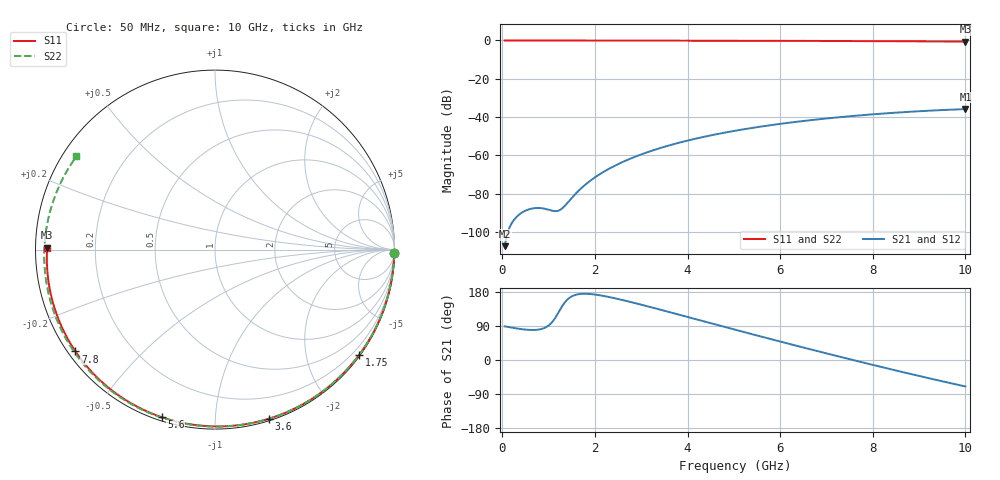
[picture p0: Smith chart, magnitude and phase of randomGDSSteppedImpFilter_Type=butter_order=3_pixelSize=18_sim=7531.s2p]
! freq	dB(S11)	phase(S11)	dB(S12)	phase(S12)
!  dB(S21)	phase(S21)	dB(S22)	phase(S22)
!S-par simulation data
#  GHz  S  DB  R 50
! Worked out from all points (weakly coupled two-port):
!   200 points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, 50 MHz to 10 GHz, reference 50 ohm
!   highest |S21| = -35.82 dB at 10 GHz (marker M1); lowest = -107.4 dB at 50 MHz (marker M2)
!   lowest |S11| = -0.6 dB at 10 GHz (marker M3), VSWR 29.82, Z = 1.68 + j0.269 ohm
!   |S11| at or under -10 dB: nowhere
!   |S22| runs from -0.6 to 0.0 dB; largest |S21 - S12| = 0
!   S11 on the Smith chart (normalised r, x): 50 MHz: open; 1.75 GHz: 0.03, -3.05; 3.6 GHz: 0.02, -1.37; 5.6 GHz: 0.02, -0.73; 7.8 GHz: 0.02, -0.33; 10 GHz: 0.03, +0.01
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0.05  -0.00 -1.0  -107.37 88.9  -107.37 88.9  -0.00 -1.2
0.45  -0.01 -9.5  -89.47 80.9  -89.47 80.9  -0.02 -11.1
0.8  -0.02 -16.8  -87.46 80.6  -87.46 80.6  -0.03 -19.8
1.55  -0.04 -32.3  -80.86 170.6  -80.86 170.6  -0.05 -37.9
1.6  -0.04 -33.3  -79.59 172.5  -79.59 172.5  -0.05 -39.1
1.75  -0.05 -36.3  -76.15 174.8  -76.15 174.8  -0.05 -42.7
2.05  -0.05 -42.4  -70.66 171.9  -70.66 171.9  -0.06 -49.7
2.45  -0.06 -50.3  -65.15 162.4  -65.15 162.4  -0.08 -58.9
2.9  -0.08 -59.0  -60.39 149.1  -60.39 149.1  -0.09 -69.1
3.4  -0.09 -68.5  -56.23 133.2  -56.23 133.2  -0.10 -80.1
3.6  -0.10 -72.3  -54.81 126.7  -54.81 126.7  -0.11 -84.4
4.3  -0.12 -85.1  -50.58 103.8  -50.58 103.8  -0.14 -99.0
5.05  -0.15 -98.3  -47.04 79.2  -47.04 79.2  -0.17 -114.2
5.6  -0.18 -107.7  -44.90 61.5  -44.90 61.5  -0.20 -125.1
6.15  -0.21 -116.9  -43.07 44.0  -43.07 44.0  -0.24 -135.8
6.7  -0.24 -126.0  -41.49 26.7  -41.49 26.7  -0.28 -146.4
7.25  -0.28 -134.9  -40.12 9.7  -40.12 9.7  -0.32 -157.0
7.8  -0.33 -143.9  -38.94 -6.9  -38.94 -6.9  -0.37 -167.8
8.35  -0.38 -152.8  -37.93 -23.3  -37.93 -23.3  -0.43 -178.7
8.8  -0.43 -160.2  -37.22 -36.4  -37.22 -36.4  -0.48 172.1
9.2  -0.48 -166.9  -36.68 -47.8  -36.68 -47.8  -0.53 163.7
10  -0.58 179.4  -35.82 -69.8  -35.82 -69.8  -0.63 146.1
